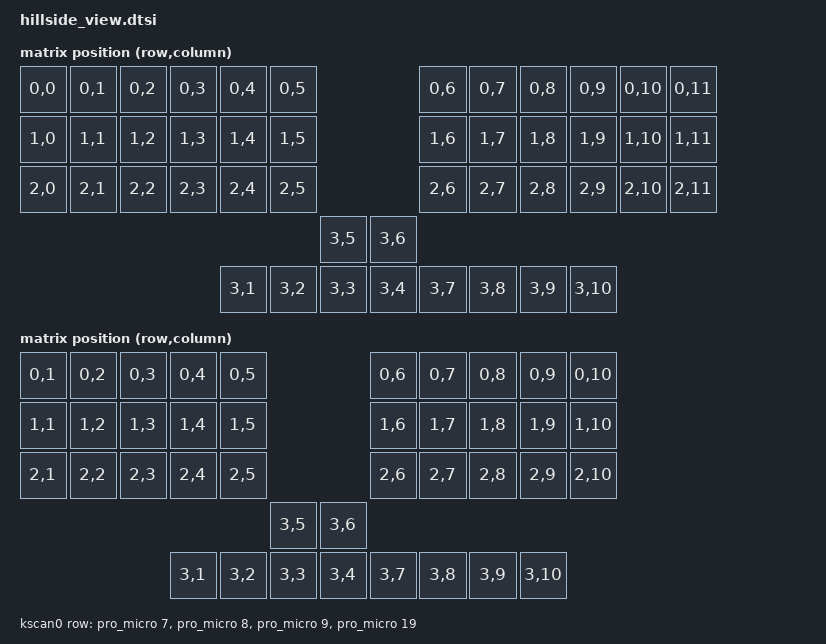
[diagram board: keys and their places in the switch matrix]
/*
 * Copyright (c) 2022 The ZMK Contributors
 *
 * SPDX-License-Identifier: MIT
 */

#include <dt-bindings/zmk/matrix_transform.h>

/ {
  chosen: chosen {
    zmk,kscan = &kscan0;
    zmk,matrix_transform = &default_transform;
  };

  default_transform: keymap_transform_0 {
    compatible = "zmk,matrix-transform";
    columns = <12>;
    rows = <4>;
// | SW1  | SW2  | SW3  | SW4  | SW5  | SW6  |                                 | SW6  | SW5  | SW4  | SW3  | SW2  | SW1  |
// | SW7  | SW8  | SW9  | SW10 | SW11 | SW12 |                                 | SW12 | SW11 | SW10 | SW9  | SW8  | SW7  |
// | SW13 | SW14 | SW15 | SW16 | SW17 | SW18 |                                 | SW18 | SW17 | SW16 | SW15 | SW14 | SW13 |
//                                           | SW19 |                   | SW19 |
//                             | SW20 | SW21 | SW22 | SW23 |     | SW23 | SW22 | SW21 | SW20 |
    map = <
RC(0,0) RC(0,1) RC(0,2) RC(0,3) RC(0,4) RC(0,5)                                       RC(0,6) RC(0,7) RC(0,8) RC(0,9) RC(0,10) RC(0,11)
RC(1,0) RC(1,1) RC(1,2) RC(1,3) RC(1,4) RC(1,5)                                       RC(1,6) RC(1,7) RC(1,8) RC(1,9) RC(1,10) RC(1,11)
RC(2,0) RC(2,1) RC(2,2) RC(2,3) RC(2,4) RC(2,5)                                       RC(2,6) RC(2,7) RC(2,8) RC(2,9) RC(2,10) RC(2,11)
                                                RC(3,5)                       RC(3,6)
                                RC(3,1) RC(3,2) RC(3,3) RC(3,4)       RC(3,7) RC(3,8) RC(3,9) RC(3,10)
    >;
  };

  five_column_transform: keymap_transform_1 {
    compatible = "zmk,matrix-transform";
    columns = <10>;
    rows = <4>;
// | SW2  | SW3  | SW4  | SW5  | SW6  |                                 | SW6  | SW5  | SW4  | SW3  | SW2  |
// | SW8  | SW9  | SW10 | SW11 | SW12 |                                 | SW12 | SW11 | SW10 | SW9  | SW8  |
// | SW14 | SW15 | SW16 | SW17 | SW18 |                                 | SW18 | SW17 | SW16 | SW15 | SW14 |
//                                    | SW19 |                   | SW19 |
//                      | SW20 | SW21 | SW22 | SW23 |     | SW23 | SW22 | SW21 | SW20 |
    map = <
RC(0,1) RC(0,2) RC(0,3) RC(0,4) RC(0,5)                                       RC(0,6) RC(0,7) RC(0,8) RC(0,9) RC(0,10)
RC(1,1) RC(1,2) RC(1,3) RC(1,4) RC(1,5)                                       RC(1,6) RC(1,7) RC(1,8) RC(1,9) RC(1,10)
RC(2,1) RC(2,2) RC(2,3) RC(2,4) RC(2,5)                                       RC(2,6) RC(2,7) RC(2,8) RC(2,9) RC(2,10)
                                        RC(3,5)                       RC(3,6)
                        RC(3,1) RC(3,2) RC(3,3) RC(3,4)       RC(3,7) RC(3,8) RC(3,9) RC(3,10)
    >;
  };

  kscan0: kscan {
    compatible = "zmk,kscan-gpio-matrix";
    label = "KSCAN";
	wakeup-source;

    diode-direction = "col2row";
    row-gpios
      = <&pro_micro 7 (GPIO_ACTIVE_HIGH | GPIO_PULL_DOWN)>
      , <&pro_micro 8 (GPIO_ACTIVE_HIGH | GPIO_PULL_DOWN)>
      , <&pro_micro 9 (GPIO_ACTIVE_HIGH | GPIO_PULL_DOWN)>
      , <&pro_micro 19 (GPIO_ACTIVE_HIGH | GPIO_PULL_DOWN)>
      ;

  };
};

&pinctrl {
  spi1_default: spi1_default {
    group1 {
      psels = <NRF_PSEL(SPIM_SCK, 0, 20)>,
        <NRF_PSEL(SPIM_MOSI, 0, 17)>,
        <NRF_PSEL(SPIM_MISO, 0, 25)>;
    };
  };
  spi1_sleep: spi1_sleep {
    group1 {
      psels = <NRF_PSEL(SPIM_SCK, 0, 20)>,
        <NRF_PSEL(SPIM_MOSI, 0, 17)>,
        <NRF_PSEL(SPIM_MISO, 0, 25)>;
      low-power-enable;
    };
  };
};

nice_view_spi: &spi1 {
  compatible = "nordic,nrf-spim";
  pinctrl-0 = <&spi1_default>;
  pinctrl-1 = <&spi1_sleep>;
  pinctrl-names = "default", "sleep";
  cs-gpios = <&gpio0 22 GPIO_ACTIVE_HIGH>;

  nice_view: ls0xx@0 {
    compatible = "sharp,ls0xx";
    label = "DISPLAY";
    spi-max-frequency = <1000000>;
    reg = <0>;
    width = <160>;
    height = <68>;
  };
};

/ {
    split_inputs {
        #address-cells = <1>;
        #size-cells = <0>;

        glidepoint_split: glidepoint_split@2a {
            compatible = "zmk,input-split";
            reg = <0x2a>;
        };
    };

    glidepoint_listener: glidepoint_listener {
        compatible = "zmk,input-listener";
        status = "disabled";
        device = <&glidepoint_split>;
    };
};
